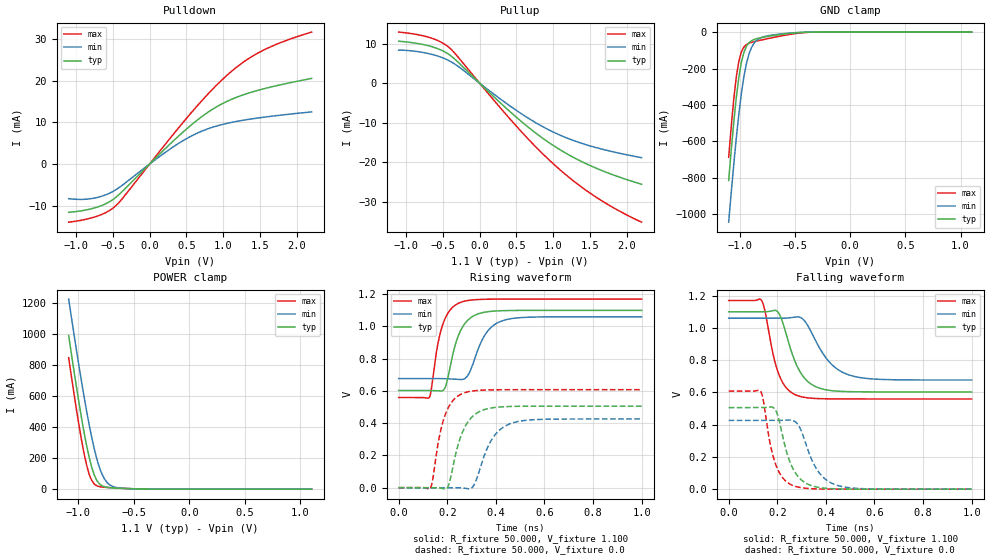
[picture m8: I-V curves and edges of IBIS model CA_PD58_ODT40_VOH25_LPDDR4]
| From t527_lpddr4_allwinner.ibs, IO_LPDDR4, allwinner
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|   Model CA_PD58_ODT40_VOH25_LPDDR4
[Model] CA_PD58_ODT40_VOH25_LPDDR4
Model_type 3-state
Polarity   Non-Inverting
Enable   Active-Low
C_comp   1.516pF   1.473pF   1.571pF
C_comp_pullup   0.515pF   0.497pF   0.537pF
C_comp_pulldown   0.803pF   0.783pF   0.836pF
[Temperature Range]   25.000   0.125k   -40.000
[Voltage Range]   1.100V   1.060V   1.170V
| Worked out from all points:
|   slope of the pulldown table from 0 to 0.165 V, typ, clamps not added: 57.2 ohm
|   slope of the pullup table from 0 to 0.165 V, typ, clamps not added: 56 ohm
|   GND clamp passes 1 mA (typ) near -0.41 V on its own axis
|   POWER clamp passes 1 mA (typ) near -0.43 V on its own axis
|   rising waveform, R_fixture 50.000, V_fixture 1.100: 20-80 % time 58.9ps typ, 70.9ps min, 50ps max; typ from 0.603 V to 1.1 V
|   rising waveform, R_fixture 50.000, V_fixture 0.0: 20-80 % time 64.1ps typ, 76.5ps min, 53.8ps max; typ from 0 V to 0.506 V
|   falling waveform, R_fixture 50.000, V_fixture 1.100: 20-80 % time 75.7ps typ, 102ps min, 58.3ps max; typ from 1.1 V to 0.603 V
|   falling waveform, R_fixture 50.000, V_fixture 0.0: 20-80 % time 63.4ps typ, 77.4ps min, 52.8ps max; typ from 0.506 V to 0 V
[Pulldown]
|Voltage   I(typ)   I(min)   I(max)
-1.1V     -11.63mA   -8.348mA   -14mA
-930mV    -11.27mA   -8.518mA   -13.54mA
-760mV    -10.62mA   -8.235mA   -12.82mA
-590mV    -9.511mA   -7.373mA   -11.64mA
-454mV    -7.942mA   -6.133mA   -9.947mA
396mV     6.761mA    4.984mA    8.759mA
668mV     10.85mA    7.592mA    14.42mA
940mV     14.06mA    9.284mA    19.51mA
1.212V    16.26mA    10.34mA    23.71mA
1.484V    17.78mA    11.1mA     26.81mA
1.79V     19.1mA     11.77mA    29.27mA
2.2V      20.58mA    12.53mA    31.73mA
[Pullup]
|Voltage   I(typ)   I(min)   I(max)
-1.1V     10.61mA    8.361mA    12.92mA
-690mV    9.44mA     7.47mA     11.6mA
-520mV    8.343mA    6.546mA    10.34mA
-418mV    7.275mA    5.712mA    9.069mA
-282mV    5.122mA    4.114mA    6.357mA
500mV     -8.627mA   -6.884mA   -10.88mA
772mV     -12.75mA   -10.09mA   -16.28mA
1.01V     -15.86mA   -12.43mA   -20.54mA
1.282V    -18.83mA   -14.54mA   -24.81mA
1.554V    -21.26mA   -16.14mA   -28.47mA
1.86V     -23.49mA   -17.55mA   -31.93mA
2.2V      -25.55mA   -18.83mA   -35.14mA
[GND_clamp]
|Voltage   I(typ)   I(min)   I(max)
-1.1V     -814.2mA   -1.043A    -687.2mA
-1.054V   -495mA     -726.6mA   -368.4mA
-1.031V   -359.8mA   -581.8mA   -246.6mA
-1.008V   -248.8mA   -450.8mA   -160.4mA
-985mV    -166.1mA   -337.2mA   -108.9mA
-962mV    -110.9mA   -243.9mA   -82mA
-939mV    -77.34mA   -172mA     -68.54mA
-893mV    -47.19mA   -84.42mA   -56.41mA
-847mV    -36.11mA   -45.88mA   -49.32mA
-709mV    -20.5mA    -16.45mA   -31.34mA
-364mV    -357.3uA   -448.4uA   -961.5uA
1.1V      0A         0A         0A
[POWER_clamp]
|Voltage   I(typ)   I(min)   I(max)
-1.085V   991.5mA    1.227A     848.5mA
-1.016V   664.1mA    901.8mA    518.1mA
-970mV    462mA      696.7mA    319.4mA
-924mV    282.7mA    505.5mA    156.2mA
-901mV    206.2mA    417.2mA    96.77mA
-855mV    91.54mA    261mA      33.12mA
-809mV    34.38mA    141.1mA    16.55mA
-763mV    15.18mA    65.46mA    12.33mA
-717mV    9.406mA    28.28mA    10.15mA
-625mV    5.459mA    7.413mA    6.616mA
-441mV    1.153mA    1.563mA    1.234mA
1.1V      0A         0A         0A
[Ramp]
| variable   typ   min   max
dV/dt_r   0.303/64.129p   0.256/76.518p   0.365/53.834p
dV/dt_f   0.298/75.711p   0.230/0.102n   0.366/58.383p
R_load = 50.000
[Rising Waveform]
R_fixture= 50.000
V_fixture= 1.100
V_fixture_min= 1.060
V_fixture_max= 1.170
|time   V(typ)   V(min)   V(max)
0s        603.1mV    676.9mV    559.4mV
126ps     603.2mV    676.9mV    559.8mV
159ps     600.7mV    676.9mV    872.9mV
179ps     600.8mV    677mV      1.001V
196ps     641.5mV    676.1mV    1.065V
252ps     965.3mV    670.5mV    1.148V
288ps     1.044V     704.3mV    1.162V
362ps     1.091V     962.9mV    1.169V
426ps     1.098V     1.035V     1.17V
1ns       1.1V       1.06V      1.17V
[Rising Waveform]
R_fixture= 50.000
V_fixture= 0.0
V_fixture_min= 0.0
V_fixture_max= 0.0
|time   V(typ)   V(min)   V(max)
0s        2.459uV    60.32uV    179.7nV
130ps     486.4uV    67.05uV    -5.289mV
167ps     -574.7uV   45.91uV    312.7mV
189ps     -8.76mV    395.1uV    441.6mV
207ps     22.62mV    402.9uV    504.2mV
265ps     352.9mV    -2.199mV   585.4mV
305ps     443.1mV    5.118mV    600mV
379ps     493.9mV    288.3mV    606.7mV
457ps     503.7mV    395.5mV    607.7mV
1ns       505.8mV    426.3mV    607.9mV
[Falling Waveform]
R_fixture= 50.000
V_fixture= 1.100
V_fixture_min= 1.060
V_fixture_max= 1.170
|time   V(typ)   V(min)   V(max)
0s        1.1V       1.06V      1.17V
134ps     1.1V       1.06V      1.174V
205ps     1.094V     1.06V      718.2mV
235ps     971.4mV    1.06V      632.5mV
279ps     771.6mV    1.069V     582.6mV
313ps     687.3mV    1.043V     569mV
353ps     639.4mV    935.5mV    562.8mV
418ps     612.2mV    782.8mV    560mV
492ps     605mV      710.1mV    559.5mV
1ns       603.1mV    676.9mV    559.4mV
[Falling Waveform]
R_fixture= 50.000
V_fixture= 0.0
V_fixture_min= 0.0
V_fixture_max= 0.0
|time   V(typ)   V(min)   V(max)
0s        505.8mV    426.3mV    607.9mV
133ps     505.4mV    426.3mV    603.5mV
170ps     509.6mV    426.4mV    288.1mV
191ps     495.6mV    426mV      164.1mV
222ps     329.9mV    427.5mV    71.3mV
264ps     128.9mV    426.3mV    23.05mV
293ps     66.1mV     381mV      10.57mV
365ps     12.55mV    117.5mV    1.525mV
437ps     2.388mV    28.6mV     220.2uV
1ns       2.468uV    60.75uV    182.2nV
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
